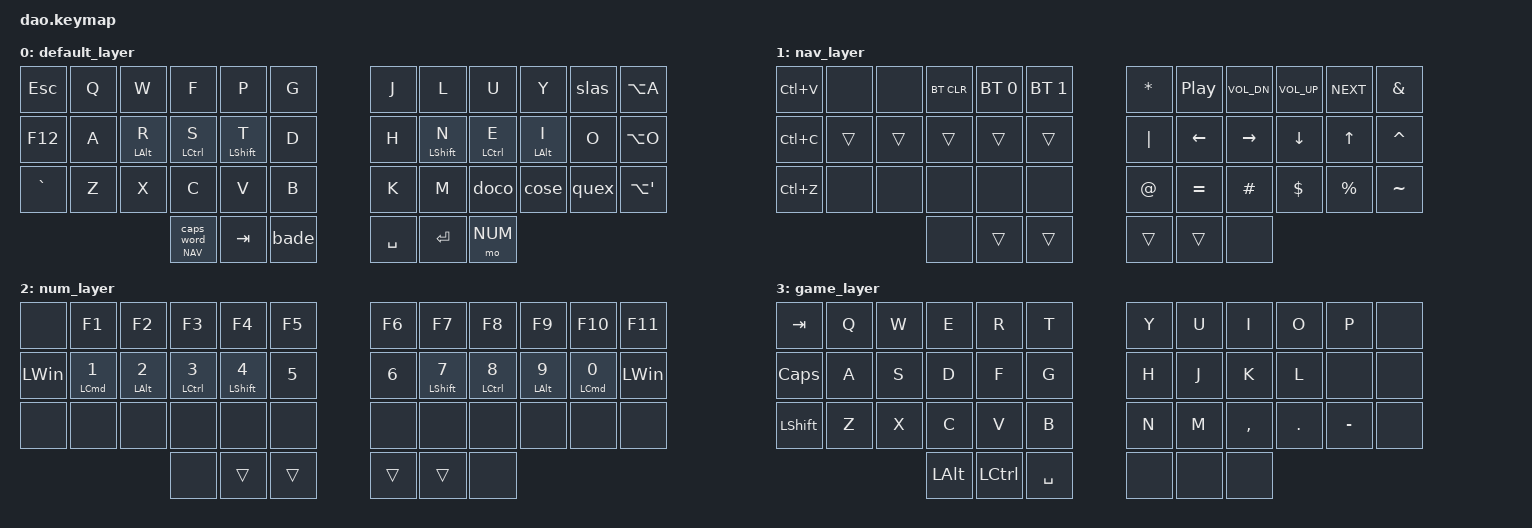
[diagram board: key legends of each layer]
#include <behaviors.dtsi>
#include <dt-bindings/zmk/keys.h>
#include <dt-bindings/zmk/bt.h>

#define DEFAULT 0
#define NAV 1
#define NUM 2
#define GAME 3

#define KEYS_L 0 1 2 3 4 5 12 13 14 15 16 17 23 24 25 26 27 28 29
#define KEYS_R 6 7 8 9 10 11 18 19 20 21 22 23 30 31 32 33 34 35
#define KEYS_T 36 37 38 39 40 41

&lt {
    quick_tap_ms = <200>;
    flavor = "hold-preferred";
};
&mt { quick_tap_ms = <200>; };

/ {
    chosen {
        zmk,matrix_transform = &default_transform;
    };
};

/ {
        behaviors {
                lpht: left_positional_hold_tap {
                        compatible = "zmk,behavior-hold-tap";
                        #binding-cells = <2>;
                        flavor = "balanced";
                        tapping-term-ms = <500>;
                        quick-tap-ms = <0>;
                        bindings = <&kp>, <&kp>;
                        hold-trigger-key-positions = <KEYS_R KEYS_T>;
                        hold-trigger-on-release;
                };
                rpht: right_positional_hold_tap {
                        compatible = "zmk,behavior-hold-tap";
                        #binding-cells = <2>;
                        flavor = "balanced";
                        tapping-term-ms = <500>;
                        quick-tap-ms = <0>;
                        bindings = <&kp>, <&kp>;
                        hold-trigger-key-positions = <KEYS_L KEYS_T>;
                        hold-trigger-on-release;
                };
                doco: dot_colon {
                        compatible = "zmk,behavior-mod-morph";
                        #binding-cells = <0>;
                        bindings = <&kp DOT>, <&kp COLON>;
                        mods = <(MOD_LSFT)>;
                };
                cose: comma_semicolon {
                        compatible = "zmk,behavior-mod-morph";
                        #binding-cells = <0>;
                        bindings = <&kp COMMA>, <&kp SEMI>;
                        mods = <(MOD_LSFT)>;
                };
                unda: underscore_dash {
                        compatible = "zmk,behavior-mod-morph";
                        #binding-cells = <0>;
                        bindings = <&kp UNDER>, <&kp MINUS>;
                        mods = <(MOD_LSFT)>;
                };
                para: parantheses {
                        compatible = "zmk,behavior-mod-morph";
                        #binding-cells = <0>;
                        bindings = <&kp LPAR>, <&kp RPAR>;
                        mods = <(MOD_LSFT)>;
                };
                qout: qoutes {
                        compatible = "zmk,behavior-mod-morph";
                        #binding-cells = <0>;
                        bindings = <&kp SQT>, <&kp DQT>;
                        mods = <(MOD_LSFT)>;
                };
                cubr: curly_braces {
                        compatible = "zmk,behavior-mod-morph";
                        #binding-cells = <0>;
                        bindings = <&kp LBRC>, <&kp RBRC>;
                        mods = <(MOD_LSFT)>;
                };
                sqbr: square_brackets {
                        compatible = "zmk,behavior-mod-morph";
                        #binding-cells = <0>;
                        bindings = <&kp LBKT>, <&kp RBKT>;
                        mods = <(MOD_LSFT)>;
                };
                slas: slashes {
                        compatible = "zmk,behavior-mod-morph";
                        #binding-cells = <0>;
                        bindings = <&kp FSLH>, <&kp BSLH>;
                        mods = <(MOD_LSFT)>;
                };
                anbr: angle_brackets {
                        compatible = "zmk,behavior-mod-morph";
                        #binding-cells = <0>;
                        bindings = <&kp LT>, <&kp GT>;
                        mods = <(MOD_LSFT)>;
                };
                quex: question_exclamation {
                        compatible = "zmk,behavior-mod-morph";
                        #binding-cells = <0>;
                        bindings = <&kp QMARK>, <&kp EXCL>;
                        mods = <(MOD_LSFT)>;
                };
                bade: backspace_delete {
                        compatible = "zmk,behavior-mod-morph";
                        #binding-cells = <0>;
                        bindings = <&kp BSPC>, <&kp DEL>;
                        mods = <(MOD_LSFT)>;
                };
                laycap: layer_capsword {
                    compatible = "zmk,behavior-hold-tap";
                    #binding-cells = <2>;
                    flavor = "hold-preferred";
                    tapping-term-ms = <200>;
                    bindings = <&mo>, <&caps_word>;
                };
        };

        combos {
                compatible = "zmk,combos";
                combo_para {
                        timeout-ms = <50>;
                        key-positions = <2 3>;
                        bindings = <&para>;
                        layers = <DEFAULT>;
                };
                combo_sqbr {
                        timeout-ms = <30>;
                        key-positions = <27 28>;
                        bindings = <&sqbr>;
                        layers = <DEFAULT>;
                };
                combo_dash {
                        timeout-ms = <30>;
                        key-positions = <7 19>;
                        bindings = <&kp MINUS>;
                        layers = <DEFAULT>;
                };
                combo_qout {
                        timeout-ms = <30>;
                        key-positions = <8 9>;
                        bindings = <&qout>;
                        layers = <DEFAULT>;
                };
                combo_anbr {
                        timeout-ms = <30>;
                        key-positions = <26 27>;
                        bindings = <&anbr>;
                        layers = <DEFAULT>;
                };
                combo_cubr {
                        timeout-ms = <30>;
                        key-positions = <3 16>;
                        bindings = <&cubr>;
                        layers = <DEFAULT>;
                };
                combo_unde {
                        timeout-ms = <30>;
                        key-positions = <31 32>;
                        bindings = <&kp UNDER>;
                        layers = <DEFAULT>;
                };
                combo_plus {
                        timeout-ms = <30>;
                        key-positions = <32 33>;
                        bindings = <&kp PLUS>;
                        layers = <DEFAULT>;
                };
                combo_game {
                        timeout-ms = <30>;
                        key-positions = <36 41>;
                        bindings = <&tog GAME>;
                        layers = <DEFAULT GAME>;
                };
        };

        keymap {
                compatible = "zmk,keymap";

                default_layer {
                        bindings = <
&kp ESC        &kp Q         &kp W         &kp F         &kp P         &kp G                   &kp J           &kp L         &kp U          &kp Y         &slas         &kp LA(A)
&kp F12        &kp A         &lpht LALT R  &lpht LCTRL S &lpht LSHFT T &kp D                   &kp H           &rpht LSHFT N &rpht LCTRL E  &rpht LALT I  &kp O         &kp LA(O)
&kp GRAVE      &kp Z         &kp X         &kp C         &kp V         &kp B                   &kp K           &kp M         &doco          &cose         &quex         &kp LA(SQT)
                                           &laycap NAV 0 &kp TAB       &bade                   &kp SPACE       &kp RET       &mo NUM
                        >;
                };

                nav_layer {
                        bindings = <
&kp LC(V)      &none         &none         &bt BT_CLR    &bt BT_SEL 0  &bt BT_SEL 1             &kp STAR       &kp C_PP      &kp C_VOL_DN   &kp C_VOL_UP  &kp C_NEXT    &kp AMPS
&kp LC(C)      &trans        &trans        &trans        &trans        &trans                   &kp PIPE       &kp LEFT      &kp RIGHT      &kp DOWN      &kp UP        &kp CARET
&kp LC(Z)      &none         &none         &none         &none         &none                    &kp AT         &kp EQUAL     &kp HASH       &kp DLLR      &kp PRCNT     &kp TILDE
                                           &none         &trans        &trans                   &trans         &trans        &none
                        >;
                };

                num_layer {
                        bindings = <
&none          &kp F1        &kp F2        &kp F3         &kp F4         &kp F5                  &kp F6        &kp F7         &kp F8         &kp F9        &kp F10       &kp F11
&kp LWIN       &lpht LCMD N1 &lpht LALT N2 &lpht LCTRL N3 &lpht LSHFT N4 &kp N5                  &kp N6        &rpht LSHFT N7 &rpht LCTRL N8 &rpht LALT N9 &rpht LCMD N0 &kp LWIN
&none          &none         &none         &none          &none          &none                   &none         &none          &none          &none         &none         &none
                                           &none          &trans         &trans                  &trans        &trans         &none
                        >;
                };

                game_layer {
                        bindings = <
&kp TAB       &kp Q        &kp W        &kp E        &kp R        &kp T                   &kp Y         &kp U         &kp I          &kp O         &kp P         &none
&kp CAPS      &kp A        &kp S        &kp D        &kp F        &kp G                   &kp H         &kp J         &kp K          &kp L         &none         &none
&kp LSHFT     &kp Z        &kp X        &kp C        &kp V        &kp B                   &kp N         &kp M         &kp COMMA      &kp DOT       &kp MINUS     &none
                                        &kp LALT     &kp LCTRL    &kp SPACE               &none         &none         &none
                        >;
                };
        };
};
